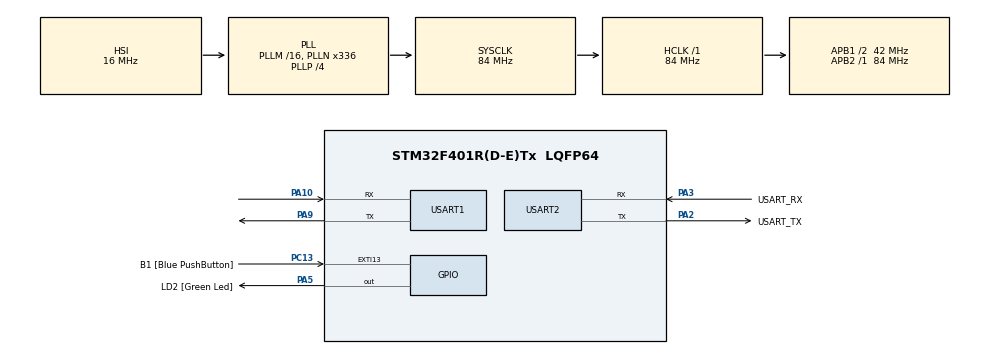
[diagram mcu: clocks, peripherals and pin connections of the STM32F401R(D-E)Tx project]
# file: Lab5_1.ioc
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Mcu.Family=STM32F4
Mcu.Name=STM32F401R(D-E)Tx
Mcu.Package=LQFP64
NVIC.PriorityGroup=NVIC_PRIORITYGROUP_0
NVIC.USART2_IRQn=true\:0\:0\:false\:false\:true\:true\:true\:true
PA10.Mode=Asynchronous
PA10.Signal=USART1_RX
PA13.GPIO_Label=TMS
PA13.Mode=Serial_Wire
PA13.Signal=SYS_JTMS-SWDIO
PA14.GPIO_Label=TCK
PA14.Mode=Serial_Wire
PA14.Signal=SYS_JTCK-SWCLK
PA2.GPIO_Label=USART_TX
PA2.GPIO_Mode=GPIO_MODE_AF_PP
PA2.GPIO_PuPd=GPIO_NOPULL
PA2.GPIO_Speed=GPIO_SPEED_FREQ_LOW
PA2.Mode=Asynchronous
PA2.Signal=USART2_TX
PA3.GPIO_Label=USART_RX
PA3.GPIO_Mode=GPIO_MODE_AF_PP
PA3.GPIO_PuPd=GPIO_NOPULL
PA3.GPIO_Speed=GPIO_SPEED_FREQ_LOW
PA3.Mode=Asynchronous
PA3.Signal=USART2_RX
PA5.GPIO_Label=LD2 [Green Led]
PA5.GPIO_Mode=GPIO_MODE_OUTPUT_PP
PA5.GPIO_PuPd=GPIO_NOPULL
PA5.GPIO_Speed=GPIO_SPEED_FREQ_LOW
PA5.Signal=GPIO_Output
PA9.Mode=Asynchronous
PA9.Signal=USART1_TX
PB3.GPIO_Label=SWO
PB3.Signal=SYS_JTDO-SWO
PC13-ANTI_TAMP.GPIO_Label=B1 [Blue PushButton]
PC13-ANTI_TAMP.GPIO_ModeDefaultEXTI=GPIO_MODE_IT_FALLING
PC13-ANTI_TAMP.GPIO_PuPd=GPIO_NOPULL
PC13-ANTI_TAMP.Signal=GPXTI13
PC14-OSC32_IN.Mode=LSE-External-Oscillator
PC14-OSC32_IN.Signal=RCC_OSC32_IN
PC15-OSC32_OUT.Mode=LSE-External-Oscillator
PC15-OSC32_OUT.Signal=RCC_OSC32_OUT
PH0\ -\ OSC_IN.Mode=HSE-External-Clock-Source
PH0\ -\ OSC_IN.Signal=RCC_OSC_IN
PH1\ -\ OSC_OUT.Mode=HSE-External-Clock-Source
PH1\ -\ OSC_OUT.Signal=RCC_OSC_OUT
ProjectManager.HeapSize=0x200
ProjectManager.StackSize=0x400
ProjectManager.TargetToolchain=STM32CubeIDE
RCC.48MHZClocksFreq_Value=48000000
RCC.AHBFreq_Value=84000000
RCC.APB1CLKDivider=RCC_HCLK_DIV2
RCC.APB1Freq_Value=42000000
RCC.APB1TimFreq_Value=84000000
RCC.APB2Freq_Value=84000000
RCC.APB2TimFreq_Value=84000000
RCC.CortexFreq_Value=84000000
RCC.HCLKFreq_Value=84000000
RCC.HSE_VALUE=8000000
RCC.HSI_VALUE=16000000
RCC.PLLN=336
RCC.PLLP=RCC_PLLP_DIV4
RCC.PLLQ=7
RCC.SYSCLKFreq_VALUE=84000000
RCC.SYSCLKSource=RCC_SYSCLKSOURCE_PLLCLK
RCC.VCOOutputFreq_Value=336000000
USART1.VirtualMode=VM_ASYNC
USART2.VirtualMode=VM_ASYNC
board=NUCLEO-F401RE

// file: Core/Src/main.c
/* USER CODE BEGIN Header */
/**
  ******************************************************************************
  * @file           : main.c
  * @brief          : Main program body
  ******************************************************************************
  * @attention
  *
  * Copyright (c) 2024 STMicroelectronics.
  * All rights reserved.
  *
  * This software is licensed under terms that can be found in the LICENSE file
  * in the root directory of this software component.
  * If no LICENSE file comes with this software, it is provided AS-IS.
  *
  ******************************************************************************
  */
/* USER CODE END Header */
#include "main.h"

UART_HandleTypeDef huart1;
UART_HandleTypeDef huart2;

void SystemClock_Config(void);
static void MX_GPIO_Init(void);
static void MX_USART2_UART_Init(void);
static void MX_USART1_UART_Init(void);

int main(void)
{

  /* MCU Configuration--------------------------------------------------------*/

  /* Reset of all peripherals, Initializes the Flash interface and the Systick. */
  HAL_Init();

  /* Configure the system clock */
  SystemClock_Config();

  /* Initialize all configured peripherals */
  MX_GPIO_Init();
  MX_USART2_UART_Init();
  MX_USART1_UART_Init();
  /* USER CODE BEGIN 2 */

  char characterToSend = 'A'; // Replace with the character you want to send
  char a;
  void sendCharacter(UART_HandleTypeDef* huart, char character) {
    /* Configure UART (replace with your actual UART instance and pins) */
    huart->Init.BaudRate = 115200;
    huart->Init.WordLength = UART_WORDLENGTH_8B;
    huart->Init.StopBits = UART_STOPBITS_1;
    huart->Init.Parity = UART_PARITY_NONE;
    huart->Init.Mode = UART_MODE_TX_RX;
    if (HAL_UART_Init(huart) != HAL_OK) {
      Error_Handler(); // Replace with your error handling function
    }

    /* Check if transmit data register is empty */
    if (HAL_UART_GetState(huart) == HAL_UART_STATE_READY) {
      /* Transmit character */
      HAL_UART_Transmit(huart, (uint8_t*)&character, 1, 10); // Timeout of 10 milliseconds
    } else {
      /* Handle error or busy state (optional) */
      Error_Handler(); // Replace with your error handling function
    }
  }
  MX_USART1_UART_Init(); // Assuming your UART initialization function is named MX_USART1_UART_Init

  /* Send character 'A' using UART1 */

  /* USER CODE END 2 */

  /* Infinite loop */
  /* USER CODE BEGIN WHILE */
  while (1)
  {
//	  if (HAL_UART_Receive_IT(&huart2, &a, 1) == HAL_OK){
//		  HAL_UART_Transmit(&huart1,&a,1,10);
//		  HAL_UART_Transmit(&huart2,&a,1,10);
//	  }
	  if(HAL_GPIO_ReadPin(GPIOC,GPIO_PIN_13)==GPIO_PIN_RESET){
		  sendCharacter(&huart1, characterToSend);
		  HAL_Delay(10);
		  HAL_GPIO_TogglePin(GPIOA,GPIO_PIN_5);
		  while(HAL_GPIO_ReadPin(GPIOC,GPIO_PIN_13)== GPIO_PIN_RESET){};
	  }

//	   if(HAL_UART_Receive(&huart1,&a,1,10)==HAL_OK){
//		   if(a == '0')HAL_GPIO_TogglePin(GPIOA,GPIO_PIN_5);

    /* USER CODE END WHILE */

  }
}

void SystemClock_Config(void)
{
  RCC_OscInitTypeDef RCC_OscInitStruct = {0};
  RCC_ClkInitTypeDef RCC_ClkInitStruct = {0};

  /** Configure the main internal regulator output voltage
  */
  __HAL_RCC_PWR_CLK_ENABLE();
  __HAL_PWR_VOLTAGESCALING_CONFIG(PWR_REGULATOR_VOLTAGE_SCALE2);

  /** Initializes the RCC Oscillators according to the specified parameters
  * in the RCC_OscInitTypeDef structure.
  */
  RCC_OscInitStruct.OscillatorType = RCC_OSCILLATORTYPE_HSI;
  RCC_OscInitStruct.HSIState = RCC_HSI_ON;
  RCC_OscInitStruct.HSICalibrationValue = RCC_HSICALIBRATION_DEFAULT;
  RCC_OscInitStruct.PLL.PLLState = RCC_PLL_ON;
  RCC_OscInitStruct.PLL.PLLSource = RCC_PLLSOURCE_HSI;
  RCC_OscInitStruct.PLL.PLLM = 16;
  RCC_OscInitStruct.PLL.PLLN = 336;
  RCC_OscInitStruct.PLL.PLLP = RCC_PLLP_DIV4;
  RCC_OscInitStruct.PLL.PLLQ = 7;
  if (HAL_RCC_OscConfig(&RCC_OscInitStruct) != HAL_OK)
  {
    Error_Handler();
  }

  /** Initializes the CPU, AHB and APB buses clocks
  */
  RCC_ClkInitStruct.ClockType = RCC_CLOCKTYPE_HCLK|RCC_CLOCKTYPE_SYSCLK
                              |RCC_CLOCKTYPE_PCLK1|RCC_CLOCKTYPE_PCLK2;
  RCC_ClkInitStruct.SYSCLKSource = RCC_SYSCLKSOURCE_PLLCLK;
  RCC_ClkInitStruct.AHBCLKDivider = RCC_SYSCLK_DIV1;
  RCC_ClkInitStruct.APB1CLKDivider = RCC_HCLK_DIV2;
  RCC_ClkInitStruct.APB2CLKDivider = RCC_HCLK_DIV1;

  if (HAL_RCC_ClockConfig(&RCC_ClkInitStruct, FLASH_LATENCY_2) != HAL_OK)
  {
    Error_Handler();
  }
}

static void MX_USART1_UART_Init(void)
{

  huart1.Instance = USART1;
  huart1.Init.BaudRate = 115200;
  huart1.Init.WordLength = UART_WORDLENGTH_8B;
  huart1.Init.StopBits = UART_STOPBITS_1;
  huart1.Init.Parity = UART_PARITY_NONE;
  huart1.Init.Mode = UART_MODE_TX_RX;
  huart1.Init.HwFlowCtl = UART_HWCONTROL_NONE;
  huart1.Init.OverSampling = UART_OVERSAMPLING_16;
  if (HAL_UART_Init(&huart1) != HAL_OK)
  {
    Error_Handler();
  }

}

static void MX_USART2_UART_Init(void)
{

  huart2.Instance = USART2;
  huart2.Init.BaudRate = 115200;
  huart2.Init.WordLength = UART_WORDLENGTH_8B;
  huart2.Init.StopBits = UART_STOPBITS_1;
  huart2.Init.Parity = UART_PARITY_NONE;
  huart2.Init.Mode = UART_MODE_TX_RX;
  huart2.Init.HwFlowCtl = UART_HWCONTROL_NONE;
  huart2.Init.OverSampling = UART_OVERSAMPLING_16;
  if (HAL_UART_Init(&huart2) != HAL_OK)
  {
    Error_Handler();
  }

}

static void MX_GPIO_Init(void)
{
  GPIO_InitTypeDef GPIO_InitStruct = {0};

  /* GPIO Ports Clock Enable */
  __HAL_RCC_GPIOC_CLK_ENABLE();
  __HAL_RCC_GPIOH_CLK_ENABLE();
  __HAL_RCC_GPIOA_CLK_ENABLE();
  __HAL_RCC_GPIOB_CLK_ENABLE();

  /*Configure GPIO pin Output Level */
  HAL_GPIO_WritePin(LD2_GPIO_Port, LD2_Pin, GPIO_PIN_RESET);

  /*Configure GPIO pin : B1_Pin */
  GPIO_InitStruct.Pin = B1_Pin;
  GPIO_InitStruct.Mode = GPIO_MODE_IT_FALLING;
  GPIO_InitStruct.Pull = GPIO_NOPULL;
  HAL_GPIO_Init(B1_GPIO_Port, &GPIO_InitStruct);

  /*Configure GPIO pin : LD2_Pin */
  GPIO_InitStruct.Pin = LD2_Pin;
  GPIO_InitStruct.Mode = GPIO_MODE_OUTPUT_PP;
  GPIO_InitStruct.Pull = GPIO_NOPULL;
  GPIO_InitStruct.Speed = GPIO_SPEED_FREQ_LOW;
  HAL_GPIO_Init(LD2_GPIO_Port, &GPIO_InitStruct);

}

void Error_Handler(void)
{
  __disable_irq();
  while (1)
  {
  }
}
